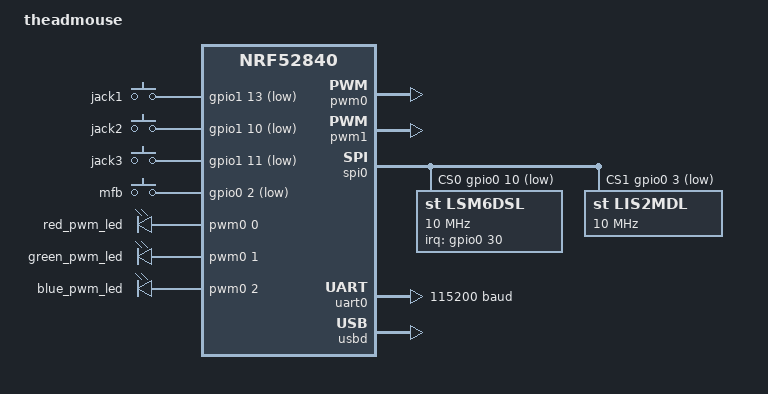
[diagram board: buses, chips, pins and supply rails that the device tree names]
/*
 * Copyright (c) 2025 Martin Pietryka
 *
 * SPDX-License-Identifier: Apache-2.0
 */

/dts-v1/;
#include <nordic/nrf52840_qiaa.dtsi>
#include "theadmouse_partition.dtsi"
#include "theadmouse-pinctrl.dtsi"

/ {
	model = "theadmouse";
	compatible = "mpi,theadmouse";

	aliases {
		red-pwm-led = &red_pwm_led;
		green-pwm-led = &green_pwm_led;
		blue-pwm-led = &blue_pwm_led;
	};

	chosen {
		zephyr,console = &uart0;
		zephyr,shell-uart = &uart0;

		mpi,buttons = &buttons;
		mpi,cmd-uart = &uart_cmd;
		mpi,telemetry-uart = &uart_telemetry;

		mpi,imu = &lsm6dsl;
	};

	buttons: buttons {
		compatible = "gpio-keys";
		debounce-interval-ms = <15>;

		jack1 {
			gpios = <&gpio1 13 (GPIO_PULL_UP | GPIO_ACTIVE_LOW)>;
			zephyr,code = <INPUT_BTN_0>;
		};

		jack2 {
			gpios = <&gpio1 10 (GPIO_PULL_UP | GPIO_ACTIVE_LOW)>;
			zephyr,code = <INPUT_BTN_1>;
		};

		jack3 {
			gpios = <&gpio1 11 (GPIO_PULL_UP | GPIO_ACTIVE_LOW)>;
			zephyr,code = <INPUT_BTN_2>;
		};

		mfb {
			gpios = <&gpio0 2 (GPIO_PULL_UP | GPIO_ACTIVE_LOW)>;
			zephyr,code = <INPUT_BTN_3>;
		};
	};

	pwmleds {
		compatible = "pwm-leds";

		red_pwm_led: pwm_led_0 {
			pwms = <&pwm0 0 PWM_MSEC(20) PWM_POLARITY_INVERTED>;
		};

		green_pwm_led: pwm_led_1 {
			pwms = <&pwm0 1 PWM_MSEC(20) PWM_POLARITY_INVERTED>;
		};

		blue_pwm_led: pwm_led_2 {
			pwms = <&pwm0 2 PWM_MSEC(20) PWM_POLARITY_INVERTED>;
		};
	};
};

&gpio0 {
	status = "okay";
};

&gpio1 {
	status = "okay";
};

&gpiote {
	status = "okay";
};

&pwm0 {
	status = "okay";
	pinctrl-0 = <&pwm0_default>;
	pinctrl-1 = <&pwm0_sleep>;
	pinctrl-names = "default", "sleep";
};

&pwm1 {
	status = "okay";
	pinctrl-0 = <&pwm1_default>;
	pinctrl-1 = <&pwm1_sleep>;
	pinctrl-names = "default", "sleep";
};

&reg1 {
	regulator-initial-mode = <NRF5X_REG_MODE_DCDC>;
};

&spi0 {
	status = "okay";
	pinctrl-0 = <&spi0_default>;
	pinctrl-1 = <&spi0_sleep>;
	pinctrl-names = "default", "sleep";

	cs-gpios = <&gpio0 10 GPIO_ACTIVE_LOW>,	// SENS_IMU_CS
		   <&gpio0 3 GPIO_ACTIVE_LOW>;	// SENS_MAG_CS

	lsm6dsl: lsm6dsl@0 {
		compatible = "st,lsm6dsl";
		reg = <0>;
		spi-max-frequency = <10000000>;
		irq-gpios = <&gpio0 30 GPIO_ACTIVE_HIGH>;
	};

	lis2mdl: lis2mdl@1 {
		compatible = "st,lis2mdl";
		reg = <1>;
		spi-max-frequency = <10000000>;
		// In 4-wire SPI mode the DRDY signal is MISO
		// irq-gpios = <&gpio0 29 GPIO_ACTIVE_HIGH>;
	};
};

&uart0 {
	status = "okay";
	current-speed = <115200>;
	pinctrl-0 = <&uart0_default>;
	pinctrl-1 = <&uart0_sleep>;
	pinctrl-names = "default", "sleep";
};

&uicr {
	nfct-pins-as-gpios;
};

&usbd {
	status = "okay";

	// FABI style AT configuration interface
	uart_cmd: cdc_acm_uart0 {
		compatible = "zephyr,cdc-acm-uart";
	};

	// Data stream from the IMU, magnetometer, filter output, etc. used
	// for debugging and visualization
	uart_telemetry: cdc_acm_uart1 {
		compatible = "zephyr,cdc-acm-uart";
	};
};
